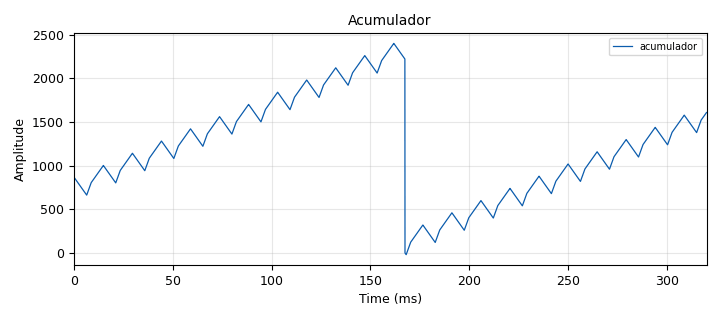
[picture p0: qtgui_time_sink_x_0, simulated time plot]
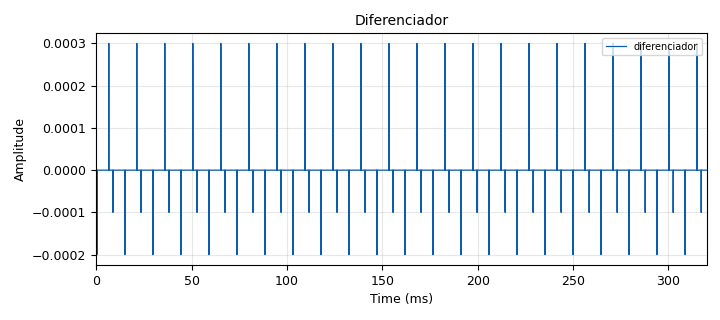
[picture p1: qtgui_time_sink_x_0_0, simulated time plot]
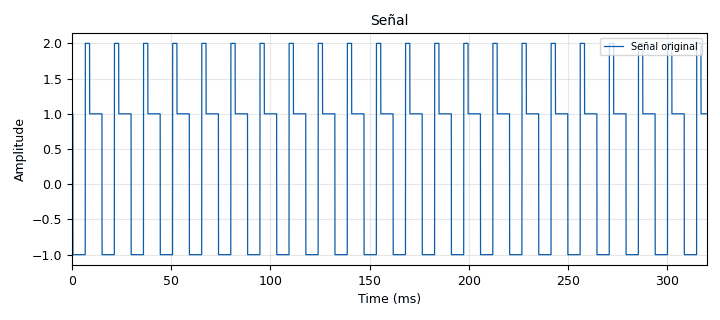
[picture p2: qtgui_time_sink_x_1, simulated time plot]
options:
  parameters:
    author: Santiago_Juan
    generate_options: qt_gui
    id: Practica_1
    output_language: python
    title: Not titled yet
  states: {}

blocks:
- name: samp_rate
  id: variable
  parameters:
    value: '32000'
  states: {}
- name: blocks_vector_source_x_0
  id: blocks_vector_source_x
  parameters:
    repeat: 'True'
    type: float
    vector: '[1]*200+ [-1]*200'
  states: {state: disabled}
- name: blocks_vector_source_x_0_0
  id: blocks_vector_source_x
  parameters:
    repeat: 'True'
    type: float
    vector: '[1]*200+ [-1]*200+[2]*70'
  states: {}
- name: epy_block_0
  id: epy_block
  parameters:
    _source_code: |-
      """
      Embedded Python Blocks:

      Each time this file is saved, GRC will instantiate the first class it finds
      to get ports and parameters of your block. The arguments to __init__  will
      be the parameters. All of them are required to have default values!
      """
      import numpy as np
      from gnuradio import gr
      class blk ( gr . sync_block ) :
          def __init__ ( self ) : # only default arguments here
              gr . sync_block . __init__ (
                  self ,
                  name = " e_Acum " , # will show up in GRC
                  in_sig =[ np . float32 ] ,
                  out_sig =[ np . float32 ]
              )
          def work ( self , input_items , output_items ) :
              x = input_items [0] # Senial de entrada .
              y0 = output_items [0] # Senial acumulada
              y0 [:] = np . cumsum ( x )
              return len ( y0 )
  states: {}
- name: epy_block_1
  id: epy_block
  parameters:
    Ts: '10000'
    _source_code: |-
      """
      Embedded Python Blocks:

      Each time this file is saved, GRC will instantiate the first class it finds
      to get ports and parameters of your block. The arguments to __init__  will
      be the parameters. All of them are required to have default values!
      """

      import numpy as np
      from gnuradio import gr

      class blk(gr.sync_block):
          def __init__(self, Ts=1.0):
              gr.sync_block.__init__(
                  self,
                  name="e_Diff",
                  in_sig=[np.float32],
                  out_sig=[np.float32],
              )
              self.Ts = float(Ts)
              self.x_prev = np.float32(0.0)
              self.have_prev = False  # para saber si ya tenemos muestra previa

          def work(self, input_items, output_items):
              x = input_items[0].astype(np.float32, copy=False)
              y = output_items[0]
              N = len(x)
              if N == 0:
                  return 0

              # Diferenciación discreta por diferencia hacia atrás:
              # y[n] = (x[n] - x[n-1]) / Ts
              if not self.have_prev:
                  # primera llamada: asumimos diferencia 0 en la primera muestra
                  y[0] = np.float32(0.0)
                  self.have_prev = True
              else:
                  y[0] = (x[0] - self.x_prev) / self.Ts

              if N > 1:
                  y[1:N] = (x[1:N] - x[0:N-1]) / self.Ts

              # guardar última muestra para la próxima llamada
              self.x_prev = x[-1]

              return len(y)
  states: {}
- name: epy_block_2
  id: epy_block
  parameters:
    _source_code: |-
      """
      Embedded Python Blocks:

      Each time this file is saved, GRC will instantiate the first class it finds
      to get ports and parameters of your block. The arguments to __init__  will
      be the parameters. All of them are required to have default values!
      """
      import numpy as np
      from gnuradio import gr

      class blk(gr.sync_block):
          def __init__(self):
              gr.sync_block.__init__(
                  self,
                  name="Promedios_de_tiempos",
                  in_sig=[np.float32],
                  out_sig=[np.float32, np.float32, np.float32, np.float32, np.float32],
              )
              # Acumulados globales
              self.N = 0                          # número total de muestras acumuladas
              self.S1 = np.float64(0.0)           # suma de x
              self.S2 = np.float64(0.0)           # suma de x^2

          def work(self, input_items, output_items):
              x = input_items[0].astype(np.float32, copy=False)
              y0 = output_items[0]  # media
              y1 = output_items[1]  # media cuadrática
              y2 = output_items[2]  # RMS
              y3 = output_items[3]  # potencia promedio
              y4 = output_items[4]  # desviación estándar

              Nchunk = len(x)
              if Nchunk == 0:
                  return 0

              # Usamos float64 para evitar errores numéricos en acumulados
              x64 = x.astype(np.float64, copy=False)

              # Acumulados parciales del chunk
              csum1 = np.cumsum(x64)          # sumas parciales de x
              csum2 = np.cumsum(x64 * x64)    # sumas parciales de x^2

              # Conteo acumulado en cada muestra del chunk
              n_vec = self.N + np.arange(1, Nchunk + 1, dtype=np.int64)

              # Estadísticos instantáneos (corrientes) en cada índice del chunk
              S1_inst = self.S1 + csum1
              S2_inst = self.S2 + csum2

              mean = S1_inst / n_vec
              mean_sq = S2_inst / n_vec
              rms = np.sqrt(mean_sq)
              # potencia promedio = E[x^2] (igual a mean_sq)
              pavg = mean_sq
              # var = E[x^2] - (E[x])^2
              var = np.maximum(mean_sq - mean * mean, 0.0)
              std = np.sqrt(var)

              # Escribimos salidas (como float32)
              y0[:] = mean.astype(np.float32, copy=False)
              y1[:] = mean_sq.astype(np.float32, copy=False)
              y2[:] = rms.astype(np.float32, copy=False)
              y3[:] = pavg.astype(np.float32, copy=False)
              y4[:] = std.astype(np.float32, copy=False)

              # Actualizamos estado global para próximas llamadas
              self.S1 += csum1[-1]
              self.S2 += csum2[-1]
              self.N += Nchunk

              return Nchunk
  states: {}
- name: qtgui_number_sink_0
  id: qtgui_number_sink
  parameters:
    graph_type: qtgui.NUM_GRAPH_HORIZ
    max: '2'
    name: '"media"'
    type: float
  states: {}
- name: qtgui_number_sink_1
  id: qtgui_number_sink
  parameters:
    graph_type: qtgui.NUM_GRAPH_HORIZ
    max: '2'
    name: '"media_cuadratica"'
    type: float
  states: {}
- name: qtgui_number_sink_2
  id: qtgui_number_sink
  parameters:
    graph_type: qtgui.NUM_GRAPH_HORIZ
    max: '2'
    name: '"RMS"'
    type: float
  states: {}
- name: qtgui_number_sink_3
  id: qtgui_number_sink
  parameters:
    graph_type: qtgui.NUM_GRAPH_HORIZ
    max: '2'
    name: '"potenciaprom"'
    type: float
  states: {}
- name: qtgui_number_sink_4
  id: qtgui_number_sink
  parameters:
    graph_type: qtgui.NUM_GRAPH_HORIZ
    max: '2'
    name: '"desviacion_estandar"'
    type: float
  states: {}
- name: qtgui_sink_x_0
  id: qtgui_sink_x
  parameters:
    bw: samp_rate
    fc: '0'
    fftsize: '1024'
    type: float
  states: {state: disabled}
- name: qtgui_time_sink_x_0
  id: qtgui_time_sink_x
  parameters:
    autoscale: 'True'
    label1: acumulador
    name: '"Acumulador"'
    size: '10240'
    srate: samp_rate
    type: float
  states: {}
- name: qtgui_time_sink_x_0_0
  id: qtgui_time_sink_x
  parameters:
    autoscale: 'True'
    label1: diferenciador
    name: '"Diferenciador"'
    size: '10240'
    srate: samp_rate
    type: float
  states: {}
- name: qtgui_time_sink_x_1
  id: qtgui_time_sink_x
  parameters:
    autoscale: 'True'
    label1: Señal original
    name: '"Señal"'
    size: '10240'
    srate: samp_rate
    type: float
  states: {}

connections:
- [blocks_vector_source_x_0, '0', epy_block_0, '0']
- [blocks_vector_source_x_0, '0', epy_block_1, '0']
- [blocks_vector_source_x_0, '0', epy_block_2, '0']
- [blocks_vector_source_x_0, '0', qtgui_time_sink_x_1, '0']
- [blocks_vector_source_x_0_0, '0', epy_block_0, '0']
- [blocks_vector_source_x_0_0, '0', epy_block_1, '0']
- [blocks_vector_source_x_0_0, '0', epy_block_2, '0']
- [blocks_vector_source_x_0_0, '0', qtgui_time_sink_x_1, '0']
- [epy_block_0, '0', qtgui_sink_x_0, '0']
- [epy_block_0, '0', qtgui_time_sink_x_0, '0']
- [epy_block_1, '0', qtgui_time_sink_x_0_0, '0']
- [epy_block_2, '0', qtgui_number_sink_0, '0']
- [epy_block_2, '1', qtgui_number_sink_1, '0']
- [epy_block_2, '2', qtgui_number_sink_2, '0']
- [epy_block_2, '3', qtgui_number_sink_3, '0']
- [epy_block_2, '4', qtgui_number_sink_4, '0']

metadata:
  file_format: 1
  grc_version: v3.10.11.0-89-ga17f69e7
